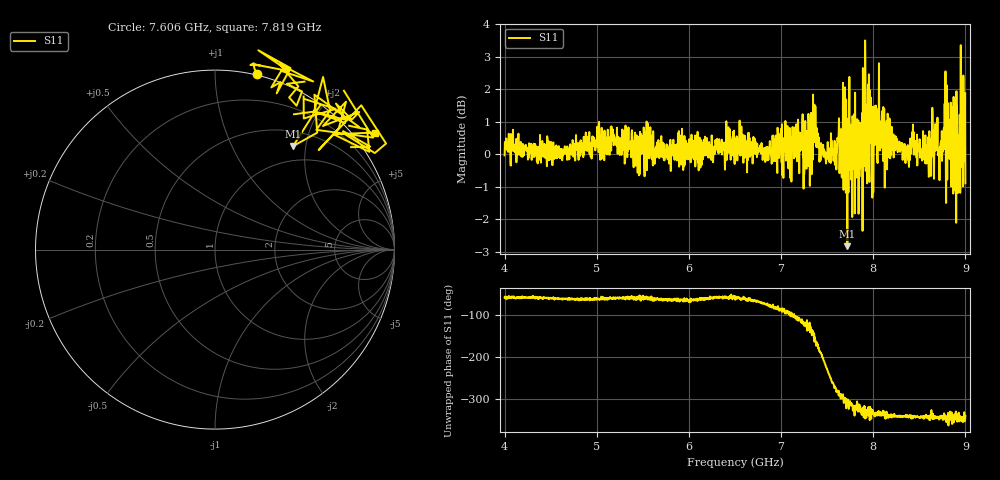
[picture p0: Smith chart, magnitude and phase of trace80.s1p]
! Created with skrf 1.8.0 (http://scikit-rf.org).
# Hz S RI R 50.0
!freq ReS11 ImS11
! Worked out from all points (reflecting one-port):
!   1601 points, 4 GHz to 9 GHz, reference 50 ohm
!   lowest |S11| = -2.8 dB at 7.719 GHz (marker M1), VSWR 6.21, Z = 36.7 + j88.5 ohm
!   phase of S11 starts at -59 deg and turns -282 deg over the sweep
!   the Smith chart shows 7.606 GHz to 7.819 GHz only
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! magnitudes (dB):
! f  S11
! 4 GHz  0.0
! 4.625 GHz  -0.2
! 5.25 GHz  0.0
! 5.875 GHz  0.3
! 6.5 GHz  0.1
! 7.125 GHz  0.8
! 7.209 GHz  0.1
! 7.269 GHz  0.3
! 7.359 GHz  0.7
! 7.462 GHz  -0.1
! 7.628 GHz  1.1
! 7.719 GHz  -2.8
! 7.75 GHz  0.2
! 7.859 GHz  1.0
! 7.928 GHz  0.5
! 7.944 GHz  2.1
! 7.962 GHz  2.0
! 7.981 GHz  0.8
! 8.038 GHz  0.6
! 8.375 GHz  0.3
! 8.441 GHz  0.0
! 8.612 GHz  0.1
! 8.666 GHz  0.2
! 8.728 GHz  0.2
! 8.797 GHz  2.1
! 8.875 GHz  0.6
! 8.972 GHz  0.6
! 9 GHz  -0.9
